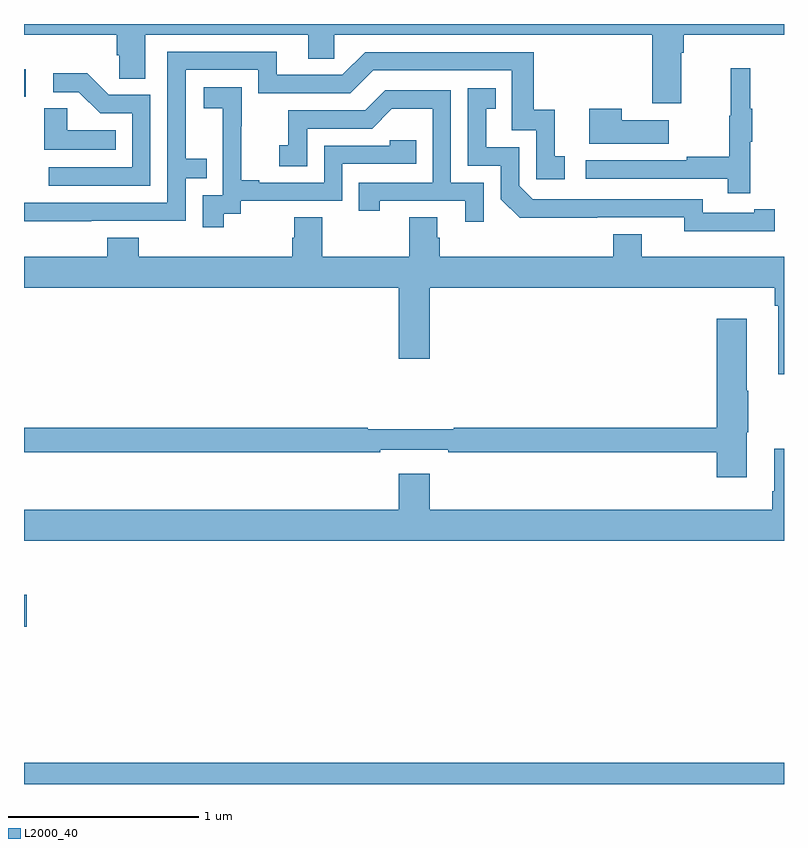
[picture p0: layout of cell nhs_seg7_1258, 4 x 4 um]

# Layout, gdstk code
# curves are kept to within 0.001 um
import gdstk
lib = gdstk.Library(unit=1e-6, precision=1e-09)
def R(c, l, rs):  # rectangles x0, y0, x1, y1
    for r in rs: c.add(gdstk.rectangle(r[:2], r[2:], *l))
def P(c, l, *ps):  # polygons
    for p in ps: c.add(gdstk.Polygon(p, *l))
L2000_40 = (2000, 40)

nhs_seg7_1258 = lib.new_cell('nhs_seg7_1258')
R(nhs_seg7_1258, L2000_40, [(199,1002,203,1002.112), (199,1002.827,199.015,1002.997), (199,1005.618,199.009,1005.763)])
P(nhs_seg7_1258, L2000_40, [(202.459,1005.848),(202.472,1005.848),(202.472,1005.944),(203,1005.944),(203,1006),(199,1006),(199,1005.944),(199.487,1005.944),(199.487,1005.835),(199.5,1005.835),(199.5,1005.712),(199.639,1005.712),(199.639,1005.944),(200.495,1005.944),(200.495,1005.817),(200.634,1005.817),(200.634,1005.944),(202.307,1005.944),(202.307,1005.582),(202.459,1005.582)],
  [(199.355,1004.964),(199.851,1004.964),(199.851,1005.189),(199.961,1005.189),(199.961,1005.29),(199.851,1005.29),(199.851,1005.759),(200.232,1005.759),(200.232,1005.636),(200.718,1005.636),(200.838,1005.756),(201.567,1005.756),(201.567,1005.441),(201.696,1005.441),(201.696,1005.183),(201.847,1005.183),(201.847,1005.303),(201.794,1005.303),(201.794,1005.55),(201.683,1005.55),(201.683,1005.852),(200.796,1005.852),(200.676,1005.732),(200.329,1005.732),(200.329,1005.855),(199.755,1005.855),(199.755,1005.06),(199,1005.06),(199,1004.963)],
  [(202.823,1005.379),(202.834,1005.379),(202.834,1005.553),(202.823,1005.553),(202.823,1005.766),(202.72,1005.766),(202.72,1005.516),(202.713,1005.516),(202.713,1005.302),(202.489,1005.302),(202.489,1005.282),(201.957,1005.282),(201.957,1005.186),(202.705,1005.186),(202.705,1005.108),(202.823,1005.108)],
  [(199.665,1005.627),(199.446,1005.627),(199.333,1005.74),(199.155,1005.74),(199.155,1005.642),(199.289,1005.642),(199.4,1005.531),(199.569,1005.531),(199.569,1005.246),(199.131,1005.246),(199.131,1005.15),(199.665,1005.15)],
  [(200.05,1005.001),(200.142,1005.001),(200.142,1005.069),(200.676,1005.069),(200.676,1005.264),(201.065,1005.264),(201.065,1005.387),(200.925,1005.387),(200.925,1005.36),(200.58,1005.36),(200.58,1005.165),(200.239,1005.165),(200.239,1005.178),(200.144,1005.178),(200.144,1005.461),(200.145,1005.461),(200.145,1005.667),(199.947,1005.667),(199.947,1005.557),(200.045,1005.557),(200.045,1005.329),(200.046,1005.329),(200.046,1005.099),(199.941,1005.099),(199.941,1004.931),(200.05,1004.931)],
  [(202.844,1004.91),(202.952,1004.91),(202.952,1005.026),(202.844,1005.026),(202.844,1005.006),(202.572,1005.006),(202.572,1005.078),(201.678,1005.078),(201.606,1005.15),(201.606,1005.351),(201.433,1005.351),(201.433,1005.555),(201.482,1005.555),(201.482,1005.661),(201.336,1005.661),(201.336,1005.255),(201.51,1005.255),(201.51,1005.078),(201.608,1004.981),(202.476,1004.982),(202.476,1004.909)],
  [(201.42,1005.165),(201.246,1005.165),(201.246,1005.651),(200.9,1005.651),(200.795,1005.546),(200.392,1005.546),(200.392,1005.361),(200.343,1005.361),(200.343,1005.252),(200.49,1005.252),(200.49,1005.45),(200.832,1005.45),(200.936,1005.554),(201.15,1005.554),(201.15,1005.165),(200.761,1005.165),(200.761,1005.018),(200.872,1005.018),(200.872,1005.069),(201.323,1005.069),(201.323,1004.958),(201.42,1004.958)],
  [(199.484,1005.442),(199.227,1005.442),(199.227,1005.557),(199.106,1005.557),(199.106,1005.338),(199.484,1005.338)],
  [(202.393,1005.493),(202.145,1005.493),(202.145,1005.553),(201.974,1005.553),(201.974,1005.371),(202.393,1005.371)],
  [(203,1004.776),(202.252,1004.776),(202.252,1004.893),(202.1,1004.893),(202.1,1004.776),(201.188,1004.776),(201.188,1004.874),(201.175,1004.874),(201.175,1004.984),(201.028,1004.984),(201.028,1004.776),(200.571,1004.776),(200.571,1004.984),(200.423,1004.984),(200.423,1004.874),(200.411,1004.874),(200.411,1004.776),(199.604,1004.776),(199.604,1004.875),(199.439,1004.875),(199.439,1004.776),(199,1004.776),(199,1004.612),(200.972,1004.612),(200.972,1004.238),(201.136,1004.238),(201.136,1004.612),(202.951,1004.612),(202.951,1004.516),(202.97,1004.516),(202.97,1004.157),(203,1004.157)],
  [(202.804,1003.851),(202.812,1003.851),(202.812,1004.069),(202.804,1004.069),(202.804,1004.449),(202.646,1004.449),(202.646,1003.874),(201.262,1003.874),(201.262,1003.867),(200.809,1003.867),(200.809,1003.874),(199,1003.874),(199,1003.746),(200.876,1003.746),(200.876,1003.758),(201.232,1003.758),(201.232,1003.746),(202.646,1003.746),(202.646,1003.614),(202.804,1003.614)],
  [(203,1003.765),(202.949,1003.765),(202.949,1003.54),(202.937,1003.54),(202.937,1003.444),(201.136,1003.444),(201.136,1003.633),(200.972,1003.633),(200.972,1003.444),(199,1003.444),(199,1003.28),(203,1003.28)])

lib.write_gds('nhs_seg7_1258.gds')
